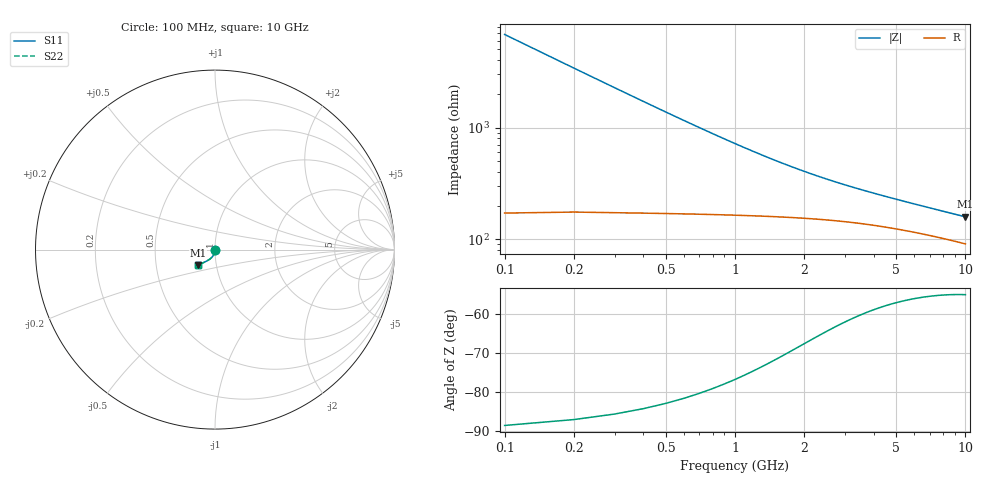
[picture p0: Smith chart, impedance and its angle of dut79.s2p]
! Touchstone file exported from HFSS 2024.1.0
!  File:  C:/UserFiles/LocalFiles/RDL_TSV_Batchsim/temp_TSV1_79_1778750935.aedt
!  Generated:  05:33:34 PM May 14, 2026
!  Design:  TSV1
!  Project:  temp_TSV1_79_1778750935
!  Setup:  Setup1
!  Solution:  Sweep
! Variables:
!  dtsv = 19.5um
!  hbump = 3um
!  htsv = 99.52um
!  lrdl = 252.1521522um
!  p = 40
!  p1 = 44.05um
!  t = 500um
!  trdl = 3um
!  wrdl = 24.89489489um
# GHz S MA R 50.000000
! Terminal data exported
! Port[1] = TSV22_T1
! Port[2] = TSV22_T2
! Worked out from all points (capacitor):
!   100 points, 100 MHz to 10 GHz, reference 50 ohm
!   read as one part in shunt: C = 234 fF near 100 MHz
!   lowest |Z| = 159 ohm at 10 GHz (marker M1)
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0.1  0.003392 -90.2  0.9998 -0.2  0.9998 -0.2  0.003392 -90.2
! Gamma 0 0 0 0
! Port Impedance 50 0 50 0
0.2  0.006812 -92.7  0.9995 -0.5  0.9995 -0.5  0.006812 -92.7
0.3  0.0102 -94.5  0.999 -0.7  0.999 -0.7  0.0102 -94.5
0.4  0.01355 -96.3  0.9983 -0.9  0.9983 -0.9  0.01355 -96.3
0.5  0.01685 -97.9  0.9974 -1.1  0.9974 -1.1  0.01685 -97.9
0.6  0.02008 -99.5  0.9964 -1.3  0.9964 -1.3  0.02008 -99.5
0.7  0.02325 -101.1  0.9953 -1.5  0.9953 -1.5  0.02325 -101.1
0.8  0.02634 -102.6  0.994 -1.7  0.994 -1.7  0.02634 -102.6
0.9  0.02934 -104.0  0.9927 -1.9  0.9927 -1.9  0.02934 -104.0
1.1  0.03508 -106.8  0.9897 -2.2  0.9897 -2.2  0.03508 -106.8
1.4  0.04297 -110.6  0.985 -2.7  0.985 -2.7  0.04297 -110.6
1.6  0.04777 -112.9  0.9817 -3.0  0.9817 -3.0  0.04777 -112.9
1.8  0.0522 -115.0  0.9784 -3.2  0.9784 -3.2  0.0522 -115.0
2.1  0.05824 -117.7  0.9736 -3.5  0.9736 -3.5  0.05824 -117.7
2.5  0.0653 -120.8  0.9675 -3.9  0.9675 -3.9  0.0653 -120.8
2.9  0.07143 -123.4  0.962 -4.3  0.962 -4.3  0.07143 -123.4
3.4  0.0781 -125.9  0.9558 -4.6  0.9558 -4.6  0.0781 -125.9
4.2  0.08715 -128.9  0.9474 -5.1  0.9474 -5.1  0.08715 -128.9
5.1  0.09575 -131.2  0.9395 -5.6  0.9395 -5.6  0.09575 -131.2
6.7  0.1085 -133.9  0.9282 -6.4  0.9282 -6.4  0.1085 -133.9
8.4  0.1198 -135.7  0.9187 -7.2  0.9187 -7.2  0.1198 -135.7
10  0.129 -136.9  0.9114 -8.0  0.9114 -8.0  0.129 -136.9
